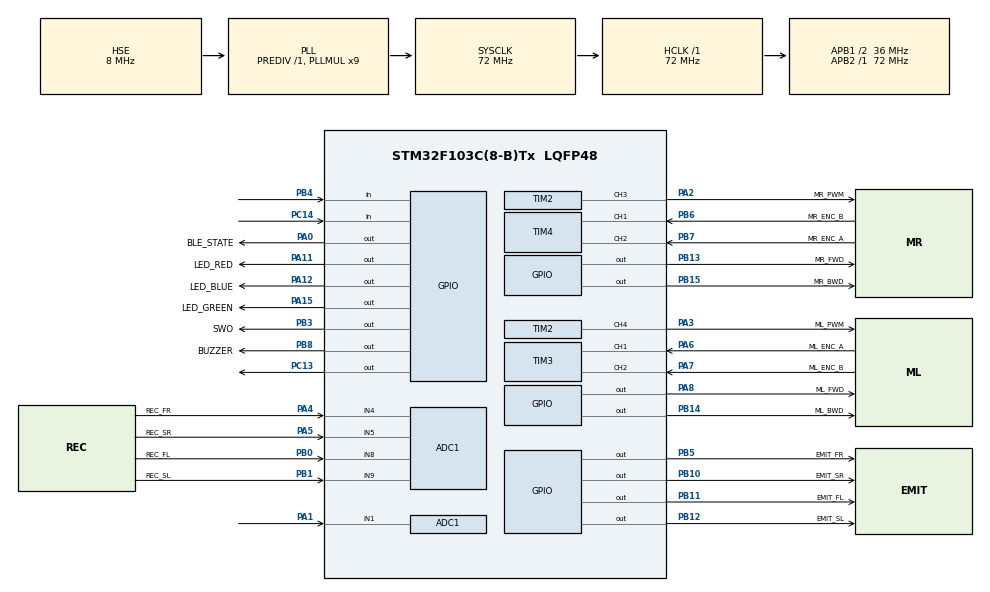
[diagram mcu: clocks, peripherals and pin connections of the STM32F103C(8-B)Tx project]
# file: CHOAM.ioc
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ADC1.Channel-0\#ChannelRegularConversion=ADC_CHANNEL_1
ADC1.NbrOfConversionFlag=1
ADC1.Rank-0\#ChannelRegularConversion=1
ADC1.SamplingTime-0\#ChannelRegularConversion=ADC_SAMPLETIME_1CYCLE_5
ADC1.master=1
Mcu.Family=STM32F1
Mcu.Name=STM32F103C(8-B)Tx
Mcu.Package=LQFP48
NVIC.PriorityGroup=NVIC_PRIORITYGROUP_4
NVIC.TIM2_IRQn=true\:0\:0\:false\:false\:true\:true\:true\:true
NVIC.TIM3_IRQn=true\:0\:0\:false\:false\:true\:true\:true\:true
NVIC.TIM4_IRQn=true\:0\:0\:false\:false\:true\:true\:true\:true
PA0-WKUP.GPIO_Label=BLE_STATE
PA0-WKUP.Signal=GPIO_Output
PA1.Signal=ADCx_IN1
PA10.Signal=USART1_RX
PA11.GPIO_Label=LED_RED
PA11.Signal=GPIO_Output
PA12.GPIO_Label=LED_BLUE
PA12.Signal=GPIO_Output
PA13.Mode=Serial_Wire
PA13.Signal=SYS_JTMS-SWDIO
PA14.Mode=Serial_Wire
PA14.Signal=SYS_JTCK-SWCLK
PA15.GPIO_Label=LED_GREEN
PA15.Signal=GPIO_Output
PA2.GPIO_Label=MR_PWM
PA2.Signal=S_TIM2_CH3
PA3.GPIO_Label=ML_PWM
PA3.Signal=S_TIM2_CH4
PA4.GPIO_Label=REC_FR
PA4.Signal=ADCx_IN4
PA5.GPIO_Label=REC_SR
PA5.Signal=ADCx_IN5
PA6.GPIO_Label=ML_ENC_A
PA6.Signal=S_TIM3_CH1
PA7.GPIO_Label=ML_ENC_B
PA7.Signal=S_TIM3_CH2
PA8.GPIO_Label=ML_FWD
PA8.Signal=GPIO_Output
PA9.Signal=USART1_TX
PB0.GPIO_Label=REC_FL
PB0.Signal=ADCx_IN8
PB1.GPIO_Label=REC_SL
PB1.Signal=ADCx_IN9
PB10.GPIO_Label=EMIT_SR
PB10.Signal=GPIO_Output
PB11.GPIO_Label=EMIT_FL
PB11.Signal=GPIO_Output
PB12.GPIO_Label=EMIT_SL
PB12.Signal=GPIO_Output
PB13.GPIO_Label=MR_FWD
PB13.Signal=GPIO_Output
PB14.GPIO_Label=ML_BWD
PB14.Signal=GPIO_Output
PB15.GPIO_Label=MR_BWD
PB15.Signal=GPIO_Output
PB3.GPIO_Label=SWO
PB3.Signal=GPIO_Output
PB4.Signal=GPIO_Input
PB5.GPIO_Label=EMIT_FR
PB5.Signal=GPIO_Output
PB6.GPIO_Label=MR_ENC_B
PB6.Signal=S_TIM4_CH1
PB7.GPIO_Label=MR_ENC_A
PB7.Signal=S_TIM4_CH2
PB8.GPIO_Label=BUZZER
PB8.Signal=GPIO_Output
PC13-TAMPER-RTC.Signal=GPIO_Output
PC14-OSC32_IN.Signal=GPIO_Input
PD0-OSC_IN.Mode=HSE-External-Oscillator
PD0-OSC_IN.Signal=RCC_OSC_IN
PD1-OSC_OUT.Mode=HSE-External-Oscillator
PD1-OSC_OUT.Signal=RCC_OSC_OUT
ProjectManager.HeapSize=0x200
ProjectManager.StackSize=0x400
ProjectManager.TargetToolchain=STM32CubeIDE
RCC.ADCPresc=RCC_ADCPCLK2_DIV6
RCC.AHBFreq_Value=72000000
RCC.APB1CLKDivider=RCC_HCLK_DIV2
RCC.APB1Freq_Value=36000000
RCC.APB1TimFreq_Value=72000000
RCC.APB2Freq_Value=72000000
RCC.APB2TimFreq_Value=72000000
RCC.HCLKFreq_Value=72000000
RCC.PLLMUL=RCC_PLL_MUL9
RCC.PLLSourceVirtual=RCC_PLLSOURCE_HSE
RCC.SYSCLKFreq_VALUE=72000000
RCC.SYSCLKSource=RCC_SYSCLKSOURCE_PLLCLK
RCC.USBFreq_Value=72000000
SH.ADCx_IN1.0=ADC1_IN1,IN1
SH.ADCx_IN4.0=ADC1_IN4,IN4
SH.ADCx_IN5.0=ADC1_IN5,IN5
SH.ADCx_IN8.0=ADC1_IN8,IN8
SH.ADCx_IN9.0=ADC1_IN9,IN9
SH.S_TIM2_CH3.0=TIM2_CH3,PWM Generation3 CH3
SH.S_TIM2_CH4.0=TIM2_CH4,PWM Generation4 CH4
SH.S_TIM3_CH1.0=TIM3_CH1,Encoder_Interface
SH.S_TIM3_CH2.0=TIM3_CH2,Encoder_Interface
SH.S_TIM4_CH1.0=TIM4_CH1,Encoder_Interface
SH.S_TIM4_CH2.0=TIM4_CH2,Encoder_Interface
TIM2.AutoReloadPreload=TIM_AUTORELOAD_PRELOAD_ENABLE
TIM2.Channel-PWM\ Generation3\ CH3=TIM_CHANNEL_3
TIM2.Channel-PWM\ Generation4\ CH4=TIM_CHANNEL_4
TIM2.Period=2047
TIM2.Prescaler=72
TIM2.Pulse-PWM\ Generation3\ CH3=1000
TIM2.Pulse-PWM\ Generation4\ CH4=1000
TIM3.EncoderMode=TIM_ENCODERMODE_TI12
TIM3.IC1Polarity=TIM_ICPOLARITY_FALLING
TIM3.IC2Polarity=TIM_ICPOLARITY_FALLING
TIM4.IC1Polarity=TIM_ICPOLARITY_FALLING
TIM4.IC2Polarity=TIM_ICPOLARITY_FALLING
VP_TIM2_VS_ClockSourceINT.Mode=Internal
board=custom

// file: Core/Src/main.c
/* USER CODE BEGIN Header */
/**
  ******************************************************************************
  * @file           : main.c
  * @brief          : Main program body
  ******************************************************************************
  * @attention
  *
  * Copyright (c) 2025 STMicroelectronics.
  * All rights reserved.
  *
  * This software is licensed under terms that can be found in the LICENSE file
  * in the root directory of this software component.
  * If no LICENSE file comes with this software, it is provided AS-IS.
  *
  ******************************************************************************
  */
/* USER CODE END Header */
#include "main.h"

/* USER CODE BEGIN Includes */
#include "adc_manager.h"
#include "distance.h"
#include "motors.h"

/* USER CODE END Includes */

ADC_HandleTypeDef hadc1;

TIM_HandleTypeDef htim2;
TIM_HandleTypeDef htim3;
TIM_HandleTypeDef htim4;

/* USER CODE BEGIN PV */
uint16_t dis_FL;
uint16_t dis_FR;
uint16_t dis_SL;
uint16_t dis_SR;
/* USER CODE END PV */

void SystemClock_Config(void);
static void MX_GPIO_Init(void);
static void MX_TIM2_Init(void);
static void MX_ADC1_Init(void);
static void MX_TIM3_Init(void);
static void MX_TIM4_Init(void);

/* USER CODE BEGIN 0 */
uint16_t encL = 0; //counter for left encoder value
uint16_t encR = 0; //counter for left encoder value
int16_t leftCounter = 0;
int16_t rightCounter = 0;

void HAL_TIM_IC_CaptureCallback(TIM_HandleTypeDef *htim) {
	//left encoder timer
	if (htim->Instance == TIM3){
		encL = __HAL_TIM_GET_COUNTER(htim);
		leftCounter = (int16_t) encL / -4;

	}

	if (htim->Instance == TIM4) {
		encR = __HAL_TIM_GET_COUNTER(htim);
		rightCounter = (int16_t) encR / -4;
	}
}

/* USER CODE END 0 */

int main(void)
{

  /* MCU Configuration--------------------------------------------------------*/

  /* Reset of all peripherals, Initializes the Flash interface and the Systick. */
  HAL_Init();

  /* Configure the system clock */
  SystemClock_Config();

  /* USER CODE BEGIN SysInit */
  MX_GPIO_Init();
  MX_TIM2_Init();

  /* USER CODE END SysInit */

  /* Initialize all configured peripherals */
  MX_GPIO_Init();
  MX_TIM2_Init();
  MX_ADC1_Init();
  MX_TIM3_Init();
  MX_TIM4_Init();
  /* USER CODE BEGIN 2 */

  //start motors
  //question: are we in interrupt mode? do we need it? how to do it?
  HAL_TIM_PWM_Start(&htim2, TIM_CHANNEL_3);
  HAL_TIM_PWM_Start(&htim2, TIM_CHANNEL_4);

  //start left encoder
  HAL_TIM_Encoder_Start_IT(&htim3, TIM_CHANNEL_ALL);
  HAL_TIM_Encoder_Start_IT(&htim4, TIM_CHANNEL_ALL);

  HAL_TIM_Base_Start_IT(&htim2);

  //I think ML is 4 and MR is 3
  //setting PWM here, (e.g. period = 2047, 50% duty cycle = 1023)
//  SetLMotorDirection(1);
//  SetRMotorDirection(1);
//  TIM2->CCR4 = fabsf(200);
//  TIM2->CCR3 = fabsf(200);

  /* USER CODE END 2 */

  /* Infinite loop */
  /* USER CODE BEGIN WHILE */
  while (1)
  {
	  //testing IR sensors

//	  dis_SR = measure_dist(DIST_SR);
//	  dis_FR = measure_dist(DIST_FR);
//	  dis_FL = measure_dist(DIST_FL);
	  dis_SL = measure_dist(DIST_SL);

	  //testing Motors

	  //blink
	  HAL_GPIO_TogglePin(GPIOC, GPIO_PIN_13);
	  HAL_Delay(2000);
    /* USER CODE END WHILE */

  }
}

void SystemClock_Config(void)
{
  RCC_OscInitTypeDef RCC_OscInitStruct = {0};
  RCC_ClkInitTypeDef RCC_ClkInitStruct = {0};
  RCC_PeriphCLKInitTypeDef PeriphClkInit = {0};

  /** Initializes the RCC Oscillators according to the specified parameters
  * in the RCC_OscInitTypeDef structure.
  */
  RCC_OscInitStruct.OscillatorType = RCC_OSCILLATORTYPE_HSE;
  RCC_OscInitStruct.HSEState = RCC_HSE_ON;
  RCC_OscInitStruct.HSEPredivValue = RCC_HSE_PREDIV_DIV1;
  RCC_OscInitStruct.HSIState = RCC_HSI_ON;
  RCC_OscInitStruct.PLL.PLLState = RCC_PLL_ON;
  RCC_OscInitStruct.PLL.PLLSource = RCC_PLLSOURCE_HSE;
  RCC_OscInitStruct.PLL.PLLMUL = RCC_PLL_MUL9;
  if (HAL_RCC_OscConfig(&RCC_OscInitStruct) != HAL_OK)
  {
    Error_Handler();
  }

  /** Initializes the CPU, AHB and APB buses clocks
  */
  RCC_ClkInitStruct.ClockType = RCC_CLOCKTYPE_HCLK|RCC_CLOCKTYPE_SYSCLK
                              |RCC_CLOCKTYPE_PCLK1|RCC_CLOCKTYPE_PCLK2;
  RCC_ClkInitStruct.SYSCLKSource = RCC_SYSCLKSOURCE_PLLCLK;
  RCC_ClkInitStruct.AHBCLKDivider = RCC_SYSCLK_DIV1;
  RCC_ClkInitStruct.APB1CLKDivider = RCC_HCLK_DIV2;
  RCC_ClkInitStruct.APB2CLKDivider = RCC_HCLK_DIV1;

  if (HAL_RCC_ClockConfig(&RCC_ClkInitStruct, FLASH_LATENCY_2) != HAL_OK)
  {
    Error_Handler();
  }
  PeriphClkInit.PeriphClockSelection = RCC_PERIPHCLK_ADC;
  PeriphClkInit.AdcClockSelection = RCC_ADCPCLK2_DIV6;
  if (HAL_RCCEx_PeriphCLKConfig(&PeriphClkInit) != HAL_OK)
  {
    Error_Handler();
  }
}

static void MX_ADC1_Init(void)
{

  ADC_ChannelConfTypeDef sConfig = {0};

  /** Common config
  */
  hadc1.Instance = ADC1;
  hadc1.Init.ScanConvMode = ADC_SCAN_DISABLE;
  hadc1.Init.ContinuousConvMode = DISABLE;
  hadc1.Init.DiscontinuousConvMode = DISABLE;
  hadc1.Init.ExternalTrigConv = ADC_SOFTWARE_START;
  hadc1.Init.DataAlign = ADC_DATAALIGN_RIGHT;
  hadc1.Init.NbrOfConversion = 1;
  if (HAL_ADC_Init(&hadc1) != HAL_OK)
  {
    Error_Handler();
  }

  /** Configure Regular Channel
  */
  sConfig.Channel = ADC_CHANNEL_1;
  sConfig.Rank = ADC_REGULAR_RANK_1;
  sConfig.SamplingTime = ADC_SAMPLETIME_1CYCLE_5;
  if (HAL_ADC_ConfigChannel(&hadc1, &sConfig) != HAL_OK)
  {
    Error_Handler();
  }

}

static void MX_TIM2_Init(void)
{

  TIM_ClockConfigTypeDef sClockSourceConfig = {0};
  TIM_MasterConfigTypeDef sMasterConfig = {0};
  TIM_OC_InitTypeDef sConfigOC = {0};

  htim2.Instance = TIM2;
  htim2.Init.Prescaler = 72;
  htim2.Init.CounterMode = TIM_COUNTERMODE_UP;
  htim2.Init.Period = 1000;
  htim2.Init.ClockDivision = TIM_CLOCKDIVISION_DIV1;
  htim2.Init.AutoReloadPreload = TIM_AUTORELOAD_PRELOAD_ENABLE;
  if (HAL_TIM_Base_Init(&htim2) != HAL_OK)
  {
    Error_Handler();
  }
  sClockSourceConfig.ClockSource = TIM_CLOCKSOURCE_INTERNAL;
  if (HAL_TIM_ConfigClockSource(&htim2, &sClockSourceConfig) != HAL_OK)
  {
    Error_Handler();
  }
  if (HAL_TIM_PWM_Init(&htim2) != HAL_OK)
  {
    Error_Handler();
  }
  sMasterConfig.MasterOutputTrigger = TIM_TRGO_RESET;
  sMasterConfig.MasterSlaveMode = TIM_MASTERSLAVEMODE_DISABLE;
  if (HAL_TIMEx_MasterConfigSynchronization(&htim2, &sMasterConfig) != HAL_OK)
  {
    Error_Handler();
  }
  sConfigOC.OCMode = TIM_OCMODE_PWM1;
  sConfigOC.Pulse = 1000;
  sConfigOC.OCPolarity = TIM_OCPOLARITY_HIGH;
  sConfigOC.OCFastMode = TIM_OCFAST_DISABLE;
  if (HAL_TIM_PWM_ConfigChannel(&htim2, &sConfigOC, TIM_CHANNEL_3) != HAL_OK)
  {
    Error_Handler();
  }
  if (HAL_TIM_PWM_ConfigChannel(&htim2, &sConfigOC, TIM_CHANNEL_4) != HAL_OK)
  {
    Error_Handler();
  }
  HAL_TIM_MspPostInit(&htim2);

}

static void MX_TIM3_Init(void)
{

  TIM_Encoder_InitTypeDef sConfig = {0};
  TIM_MasterConfigTypeDef sMasterConfig = {0};

  htim3.Instance = TIM3;
  htim3.Init.Prescaler = 0;
  htim3.Init.CounterMode = TIM_COUNTERMODE_UP;
  htim3.Init.Period = 65535;
  htim3.Init.ClockDivision = TIM_CLOCKDIVISION_DIV1;
  htim3.Init.AutoReloadPreload = TIM_AUTORELOAD_PRELOAD_DISABLE;
  sConfig.EncoderMode = TIM_ENCODERMODE_TI12;
  sConfig.IC1Polarity = TIM_ICPOLARITY_FALLING;
  sConfig.IC1Selection = TIM_ICSELECTION_DIRECTTI;
  sConfig.IC1Prescaler = TIM_ICPSC_DIV1;
  sConfig.IC1Filter = 0;
  sConfig.IC2Polarity = TIM_ICPOLARITY_FALLING;
  sConfig.IC2Selection = TIM_ICSELECTION_DIRECTTI;
  sConfig.IC2Prescaler = TIM_ICPSC_DIV1;
  sConfig.IC2Filter = 0;
  if (HAL_TIM_Encoder_Init(&htim3, &sConfig) != HAL_OK)
  {
    Error_Handler();
  }
  sMasterConfig.MasterOutputTrigger = TIM_TRGO_RESET;
  sMasterConfig.MasterSlaveMode = TIM_MASTERSLAVEMODE_DISABLE;
  if (HAL_TIMEx_MasterConfigSynchronization(&htim3, &sMasterConfig) != HAL_OK)
  {
    Error_Handler();
  }

}

static void MX_TIM4_Init(void)
{

  TIM_Encoder_InitTypeDef sConfig = {0};
  TIM_MasterConfigTypeDef sMasterConfig = {0};

  htim4.Instance = TIM4;
  htim4.Init.Prescaler = 0;
  htim4.Init.CounterMode = TIM_COUNTERMODE_UP;
  htim4.Init.Period = 65535;
  htim4.Init.ClockDivision = TIM_CLOCKDIVISION_DIV1;
  htim4.Init.AutoReloadPreload = TIM_AUTORELOAD_PRELOAD_DISABLE;
  sConfig.EncoderMode = TIM_ENCODERMODE_TI1;
  sConfig.IC1Polarity = TIM_ICPOLARITY_FALLING;
  sConfig.IC1Selection = TIM_ICSELECTION_DIRECTTI;
  sConfig.IC1Prescaler = TIM_ICPSC_DIV1;
  sConfig.IC1Filter = 0;
  sConfig.IC2Polarity = TIM_ICPOLARITY_FALLING;
  sConfig.IC2Selection = TIM_ICSELECTION_DIRECTTI;
  sConfig.IC2Prescaler = TIM_ICPSC_DIV1;
  sConfig.IC2Filter = 0;
  if (HAL_TIM_Encoder_Init(&htim4, &sConfig) != HAL_OK)
  {
    Error_Handler();
  }
  sMasterConfig.MasterOutputTrigger = TIM_TRGO_RESET;
  sMasterConfig.MasterSlaveMode = TIM_MASTERSLAVEMODE_DISABLE;
  if (HAL_TIMEx_MasterConfigSynchronization(&htim4, &sMasterConfig) != HAL_OK)
  {
    Error_Handler();
  }

}

static void MX_GPIO_Init(void)
{
  GPIO_InitTypeDef GPIO_InitStruct = {0};

  /* GPIO Ports Clock Enable */
  __HAL_RCC_GPIOC_CLK_ENABLE();
  __HAL_RCC_GPIOD_CLK_ENABLE();
  __HAL_RCC_GPIOA_CLK_ENABLE();
  __HAL_RCC_GPIOB_CLK_ENABLE();

  /*Configure GPIO pin Output Level */
  HAL_GPIO_WritePin(GPIOC, GPIO_PIN_13, GPIO_PIN_RESET);

  /*Configure GPIO pin Output Level */
  HAL_GPIO_WritePin(GPIOA, BLE_STATE_Pin|ML_FWD_Pin|LED_RED_Pin|LED_BLUE_Pin
                          |LED_GREEN_Pin, GPIO_PIN_RESET);

  /*Configure GPIO pin Output Level */
  HAL_GPIO_WritePin(GPIOB, EMIT_SR_Pin|EMIT_FL_Pin|EMIT_SL_Pin|MR_FWD_Pin
                          |ML_BWD_Pin|MR_BWD_Pin|SWO_Pin|EMIT_FR_Pin
                          |BUZZER_Pin, GPIO_PIN_RESET);

  /*Configure GPIO pin : PC13 */
  GPIO_InitStruct.Pin = GPIO_PIN_13;
  GPIO_InitStruct.Mode = GPIO_MODE_OUTPUT_PP;
  GPIO_InitStruct.Pull = GPIO_NOPULL;
  GPIO_InitStruct.Speed = GPIO_SPEED_FREQ_LOW;
  HAL_GPIO_Init(GPIOC, &GPIO_InitStruct);

  /*Configure GPIO pin : PC14 */
  GPIO_InitStruct.Pin = GPIO_PIN_14;
  GPIO_InitStruct.Mode = GPIO_MODE_INPUT;
  GPIO_InitStruct.Pull = GPIO_NOPULL;
  HAL_GPIO_Init(GPIOC, &GPIO_InitStruct);

  /*Configure GPIO pins : BLE_STATE_Pin ML_FWD_Pin LED_RED_Pin LED_BLUE_Pin
                           LED_GREEN_Pin */
  GPIO_InitStruct.Pin = BLE_STATE_Pin|ML_FWD_Pin|LED_RED_Pin|LED_BLUE_Pin
                          |LED_GREEN_Pin;
  GPIO_InitStruct.Mode = GPIO_MODE_OUTPUT_PP;
  GPIO_InitStruct.Pull = GPIO_NOPULL;
  GPIO_InitStruct.Speed = GPIO_SPEED_FREQ_LOW;
  HAL_GPIO_Init(GPIOA, &GPIO_InitStruct);

  /*Configure GPIO pins : EMIT_SR_Pin EMIT_FL_Pin EMIT_SL_Pin MR_FWD_Pin
                           ML_BWD_Pin MR_BWD_Pin SWO_Pin EMIT_FR_Pin
                           BUZZER_Pin */
  GPIO_InitStruct.Pin = EMIT_SR_Pin|EMIT_FL_Pin|EMIT_SL_Pin|MR_FWD_Pin
                          |ML_BWD_Pin|MR_BWD_Pin|SWO_Pin|EMIT_FR_Pin
                          |BUZZER_Pin;
  GPIO_InitStruct.Mode = GPIO_MODE_OUTPUT_PP;
  GPIO_InitStruct.Pull = GPIO_NOPULL;
  GPIO_InitStruct.Speed = GPIO_SPEED_FREQ_LOW;
  HAL_GPIO_Init(GPIOB, &GPIO_InitStruct);

  /*Configure GPIO pin : PA9 */
  GPIO_InitStruct.Pin = GPIO_PIN_9;
  GPIO_InitStruct.Mode = GPIO_MODE_AF_PP;
  GPIO_InitStruct.Speed = GPIO_SPEED_FREQ_HIGH;
  HAL_GPIO_Init(GPIOA, &GPIO_InitStruct);

  /*Configure GPIO pin : PA10 */
  GPIO_InitStruct.Pin = GPIO_PIN_10;
  GPIO_InitStruct.Mode = GPIO_MODE_INPUT;
  GPIO_InitStruct.Pull = GPIO_NOPULL;
  HAL_GPIO_Init(GPIOA, &GPIO_InitStruct);

  /*Configure GPIO pin : PB4 */
  GPIO_InitStruct.Pin = GPIO_PIN_4;
  GPIO_InitStruct.Mode = GPIO_MODE_INPUT;
  GPIO_InitStruct.Pull = GPIO_NOPULL;
  HAL_GPIO_Init(GPIOB, &GPIO_InitStruct);

}

/* USER CODE BEGIN 4 */
void HAL_TIM_PeriodElapsedCallback(TIM_HandleTypeDef* htim) {

}
/* USER CODE END 4 */

void Error_Handler(void)
{
  __disable_irq();
  while (1)
  {
  }
}
